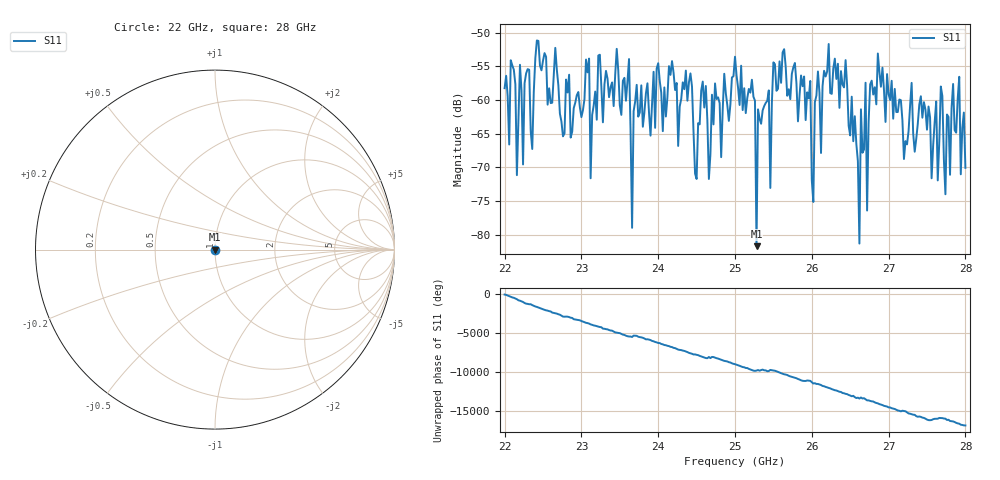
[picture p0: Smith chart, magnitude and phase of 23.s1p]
#  HZ  S  RI  R  50.00
! Rohde & Schwarz ZVA40 4Ports - Version 3.90 - 1145.1110k42 SN: 100403
! Date: 2023-10-04 06:59:08
! Measurement: S12
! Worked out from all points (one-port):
!   301 points, 22 GHz to 28 GHz, reference 50 ohm
!   lowest |S11| = -81.7 dB at 25.28 GHz (marker M1), VSWR 1.00, Z = 50 - j0.00701 ohm
!   |S11| at or under -10 dB: start of sweep to end of sweep
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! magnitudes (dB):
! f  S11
! 22 GHz  -58.2
! 22.76 GHz  -65.4
! 23.5 GHz  -60.8
! 23.62 GHz  -53.9
! 23.66 GHz  -79.0
! 23.72 GHz  -57.8
! 24.26 GHz  -66.8
! 25 GHz  -53.6
! 25.26 GHz  -60.1
! 25.28 GHz  -81.7
! 25.3 GHz  -61.4
! 25.44 GHz  -58.6
! 25.46 GHz  -73.1
! 25.5 GHz  -54.4
! 25.76 GHz  -55.1
! 25.98 GHz  -57.2
! 26.02 GHz  -75.1
! 26.22 GHz  -51.7
! 26.5 GHz  -65.3
! 26.62 GHz  -81.3
! 26.64 GHz  -61.4
! 26.7 GHz  -57.4
! 26.72 GHz  -76.4
! 26.86 GHz  -53.1
! 27.26 GHz  -64.6
! 27.74 GHz  -74.0
! 27.92 GHz  -56.6
! 28 GHz  -70.1
